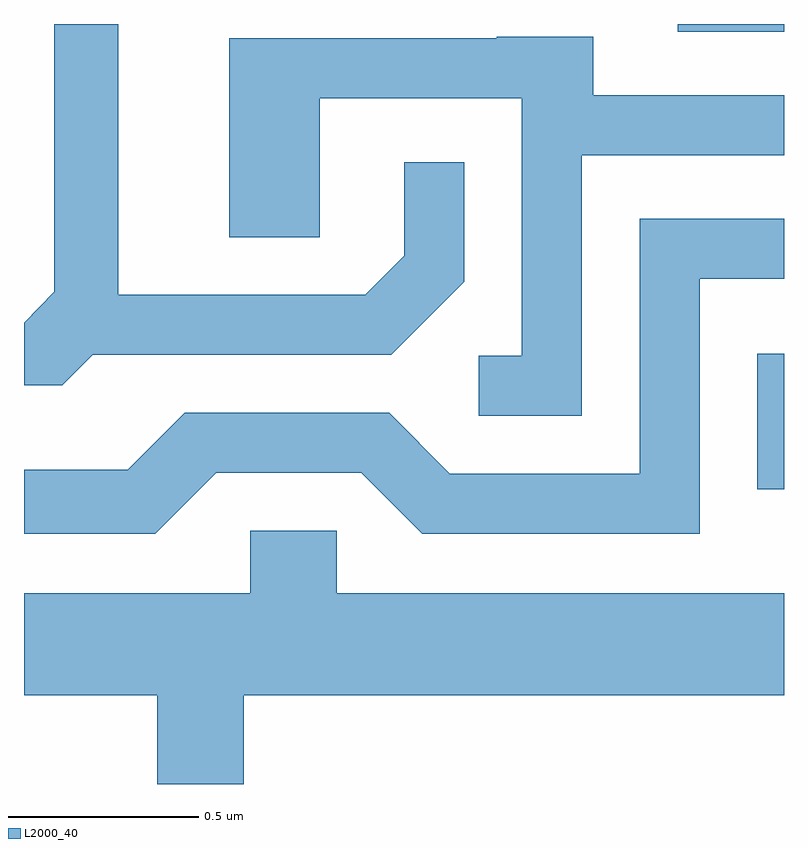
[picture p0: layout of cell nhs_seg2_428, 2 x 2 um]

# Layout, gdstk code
import gdstk
lib = gdstk.Library(unit=1e-6, precision=1e-09)
def R(c, l, rs):  # rectangles x0, y0, x1, y1
    for r in rs: c.add(gdstk.rectangle(r[:2], r[2:], *l))
def P(c, l, *ps):  # polygons
    for p in ps: c.add(gdstk.Polygon(p, *l))
L2000_40 = (2000, 40)

nhs_seg2_428 = lib.new_cell('nhs_seg2_428')
R(nhs_seg2_428, L2000_40, [(190.541,995.578,190.611,995.934), (190.331,996.781,190.611,996.802)])
P(nhs_seg2_428, L2000_40, [(188.792,995.931),(189.577,995.931),(189.769,996.124),(189.769,996.438),(189.611,996.438),(189.611,996.192),(189.509,996.089),(188.859,996.089),(188.859,996.802),(188.691,996.802),(188.691,996.097),(188.611,996.016),(188.611,995.851),(188.712,995.851)],
  [(190.079,996.456),(190.611,996.456),(190.611,996.614),(190.109,996.614),(190.109,996.769),(189.855,996.769),(189.855,996.764),(189.151,996.764),(189.151,996.241),(189.389,996.241),(189.389,996.606),(189.921,996.606),(189.921,995.929),(189.808,995.929),(189.808,995.771),(190.079,995.771)],
  [(189.117,995.621),(189.499,995.621),(189.659,995.461),(190.389,995.461),(190.389,996.131),(190.611,996.131),(190.611,996.289),(190.231,996.289),(190.231,995.619),(189.732,995.619),(189.572,995.779),(189.034,995.779),(188.884,995.629),(188.611,995.629),(188.611,995.461),(188.957,995.461)],
  [(189.189,995.036),(190.611,995.036),(190.611,995.304),(189.434,995.304),(189.434,995.469),(189.206,995.469),(189.206,995.304),(188.611,995.304),(188.611,995.036),(188.961,995.036),(188.961,994.802),(189.189,994.802)])

lib.write_gds('nhs_seg2_428.gds')
